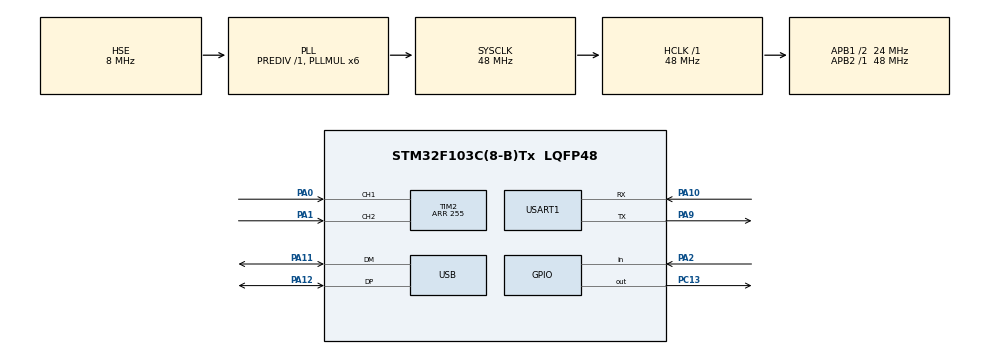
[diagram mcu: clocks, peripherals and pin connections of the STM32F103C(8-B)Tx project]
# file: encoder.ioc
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Mcu.Family=STM32F1
Mcu.Name=STM32F103C(8-B)Tx
Mcu.Package=LQFP48
NVIC.PriorityGroup=NVIC_PRIORITYGROUP_4
NVIC.USART1_IRQn=true\:0\:0\:false\:false\:true\:true\:true\:true
NVIC.USB_LP_CAN1_RX0_IRQn=true\:0\:0\:false\:false\:true\:false\:true\:true
PA0-WKUP.Signal=S_TIM2_CH1_ETR
PA1.Signal=S_TIM2_CH2
PA10.Mode=Asynchronous
PA10.Signal=USART1_RX
PA11.Mode=Device
PA11.Signal=USB_DM
PA12.Mode=Device
PA12.Signal=USB_DP
PA13.Mode=Serial_Wire
PA13.Signal=SYS_JTMS-SWDIO
PA14.Mode=Serial_Wire
PA14.Signal=SYS_JTCK-SWCLK
PA2.Signal=GPIO_Input
PA9.Mode=Asynchronous
PA9.Signal=USART1_TX
PC13-TAMPER-RTC.Signal=GPIO_Output
PD0-OSC_IN.Mode=HSE-External-Oscillator
PD0-OSC_IN.Signal=RCC_OSC_IN
PD1-OSC_OUT.Mode=HSE-External-Oscillator
PD1-OSC_OUT.Signal=RCC_OSC_OUT
ProjectManager.HeapSize=0x200
ProjectManager.StackSize=0x400
ProjectManager.TargetToolchain=STM32CubeIDE
RCC.AHBFreq_Value=48000000
RCC.APB1CLKDivider=RCC_HCLK_DIV2
RCC.APB1Freq_Value=24000000
RCC.APB1TimFreq_Value=48000000
RCC.APB2Freq_Value=48000000
RCC.APB2TimFreq_Value=48000000
RCC.HCLKFreq_Value=48000000
RCC.PLLMUL=RCC_PLL_MUL6
RCC.SYSCLKFreq_VALUE=48000000
RCC.SYSCLKSource=RCC_SYSCLKSOURCE_PLLCLK
RCC.USBFreq_Value=48000000
SH.S_TIM2_CH1_ETR.0=TIM2_CH1,Encoder_Interface
SH.S_TIM2_CH2.0=TIM2_CH2,Encoder_Interface
TIM2.EncoderMode=TIM_ENCODERMODE_TI12
TIM2.Period=255
USART1.VirtualMode=VM_ASYNC
USB_DEVICE.CLASS_NAME_FS=CDC
USB_DEVICE.VirtualMode=Cdc
USB_DEVICE.VirtualModeFS=Cdc_FS
VP_USB_DEVICE_VS_USB_DEVICE_CDC_FS.Mode=CDC_FS
board=custom

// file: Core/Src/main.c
/* USER CODE BEGIN Header */
/**
 ******************************************************************************
 * @file           : main.c
 * @brief          : Main program body
 ******************************************************************************
 * @attention
 *
 * Copyright (c) 2026 STMicroelectronics.
 * All rights reserved.
 *
 * This software is licensed under terms that can be found in the LICENSE file
 * in the root directory of this software component.
 * If no LICENSE file comes with this software, it is provided AS-IS.
 *
 ******************************************************************************
 */
/* USER CODE END Header */
#include "main.h"
#include "usb_device.h"

/* USER CODE BEGIN Includes */

#include <stdbool.h>
#include "app_uart_logic.h"

/* USER CODE END Includes */

TIM_HandleTypeDef htim2;

UART_HandleTypeDef huart1;

/* USER CODE BEGIN PV */
///ДЛЯ UART app_uart_data
uint8_t uart_rx_data;
uint8_t uart_rx_buffer[64];
uint8_t uart_rx_index = 0;
bool uart_is_collecting = false;
volatile uint8_t uart_msg_ready = 0;

volatile int16_t encoder_value = 0;
volatile int16_t last_value = -1;

/* USER CODE END PV */

void SystemClock_Config(void);
static void MX_GPIO_Init(void);
static void MX_TIM2_Init(void);
static void MX_USART1_UART_Init(void);

int main(void)
{

  /* MCU Configuration--------------------------------------------------------*/

  /* Reset of all peripherals, Initializes the Flash interface and the Systick. */
  HAL_Init();

  /* Configure the system clock */
  SystemClock_Config();

  /* Initialize all configured peripherals */
  MX_GPIO_Init();
  MX_TIM2_Init();
  MX_USART1_UART_Init();
  MX_USB_DEVICE_Init();
  /* USER CODE BEGIN 2 */

	HAL_TIM_Encoder_Start(&htim2, TIM_CHANNEL_ALL);

	HAL_UART_Receive_IT(&huart1, &uart_rx_data, 1);

  /* USER CODE END 2 */

  /* Infinite loop */
  /* USER CODE BEGIN WHILE */
	while (1) {

		Process_UART_Communication();

    /* USER CODE END WHILE */

	}
}

void SystemClock_Config(void)
{
  RCC_OscInitTypeDef RCC_OscInitStruct = {0};
  RCC_ClkInitTypeDef RCC_ClkInitStruct = {0};
  RCC_PeriphCLKInitTypeDef PeriphClkInit = {0};

  /** Initializes the RCC Oscillators according to the specified parameters
  * in the RCC_OscInitTypeDef structure.
  */
  RCC_OscInitStruct.OscillatorType = RCC_OSCILLATORTYPE_HSE;
  RCC_OscInitStruct.HSEState = RCC_HSE_ON;
  RCC_OscInitStruct.HSEPredivValue = RCC_HSE_PREDIV_DIV1;
  RCC_OscInitStruct.HSIState = RCC_HSI_ON;
  RCC_OscInitStruct.PLL.PLLState = RCC_PLL_ON;
  RCC_OscInitStruct.PLL.PLLSource = RCC_PLLSOURCE_HSE;
  RCC_OscInitStruct.PLL.PLLMUL = RCC_PLL_MUL6;
  if (HAL_RCC_OscConfig(&RCC_OscInitStruct) != HAL_OK)
  {
    Error_Handler();
  }

  /** Initializes the CPU, AHB and APB buses clocks
  */
  RCC_ClkInitStruct.ClockType = RCC_CLOCKTYPE_HCLK|RCC_CLOCKTYPE_SYSCLK
                              |RCC_CLOCKTYPE_PCLK1|RCC_CLOCKTYPE_PCLK2;
  RCC_ClkInitStruct.SYSCLKSource = RCC_SYSCLKSOURCE_PLLCLK;
  RCC_ClkInitStruct.AHBCLKDivider = RCC_SYSCLK_DIV1;
  RCC_ClkInitStruct.APB1CLKDivider = RCC_HCLK_DIV2;
  RCC_ClkInitStruct.APB2CLKDivider = RCC_HCLK_DIV1;

  if (HAL_RCC_ClockConfig(&RCC_ClkInitStruct, FLASH_LATENCY_1) != HAL_OK)
  {
    Error_Handler();
  }
  PeriphClkInit.PeriphClockSelection = RCC_PERIPHCLK_USB;
  PeriphClkInit.UsbClockSelection = RCC_USBCLKSOURCE_PLL;
  if (HAL_RCCEx_PeriphCLKConfig(&PeriphClkInit) != HAL_OK)
  {
    Error_Handler();
  }
}

static void MX_TIM2_Init(void)
{

  TIM_Encoder_InitTypeDef sConfig = {0};
  TIM_MasterConfigTypeDef sMasterConfig = {0};

  htim2.Instance = TIM2;
  htim2.Init.Prescaler = 0;
  htim2.Init.CounterMode = TIM_COUNTERMODE_UP;
  htim2.Init.Period = 255;
  htim2.Init.ClockDivision = TIM_CLOCKDIVISION_DIV1;
  htim2.Init.AutoReloadPreload = TIM_AUTORELOAD_PRELOAD_DISABLE;
  sConfig.EncoderMode = TIM_ENCODERMODE_TI12;
  sConfig.IC1Polarity = TIM_ICPOLARITY_RISING;
  sConfig.IC1Selection = TIM_ICSELECTION_DIRECTTI;
  sConfig.IC1Prescaler = TIM_ICPSC_DIV1;
  sConfig.IC1Filter = 0;
  sConfig.IC2Polarity = TIM_ICPOLARITY_RISING;
  sConfig.IC2Selection = TIM_ICSELECTION_DIRECTTI;
  sConfig.IC2Prescaler = TIM_ICPSC_DIV1;
  sConfig.IC2Filter = 0;
  if (HAL_TIM_Encoder_Init(&htim2, &sConfig) != HAL_OK)
  {
    Error_Handler();
  }
  sMasterConfig.MasterOutputTrigger = TIM_TRGO_RESET;
  sMasterConfig.MasterSlaveMode = TIM_MASTERSLAVEMODE_DISABLE;
  if (HAL_TIMEx_MasterConfigSynchronization(&htim2, &sMasterConfig) != HAL_OK)
  {
    Error_Handler();
  }

}

static void MX_USART1_UART_Init(void)
{

  huart1.Instance = USART1;
  huart1.Init.BaudRate = 115200;
  huart1.Init.WordLength = UART_WORDLENGTH_8B;
  huart1.Init.StopBits = UART_STOPBITS_1;
  huart1.Init.Parity = UART_PARITY_NONE;
  huart1.Init.Mode = UART_MODE_TX_RX;
  huart1.Init.HwFlowCtl = UART_HWCONTROL_NONE;
  huart1.Init.OverSampling = UART_OVERSAMPLING_16;
  if (HAL_UART_Init(&huart1) != HAL_OK)
  {
    Error_Handler();
  }

}

static void MX_GPIO_Init(void)
{
  GPIO_InitTypeDef GPIO_InitStruct = {0};

  /* GPIO Ports Clock Enable */
  __HAL_RCC_GPIOC_CLK_ENABLE();
  __HAL_RCC_GPIOD_CLK_ENABLE();
  __HAL_RCC_GPIOA_CLK_ENABLE();

  /*Configure GPIO pin Output Level */
  HAL_GPIO_WritePin(GPIOC, GPIO_PIN_13, GPIO_PIN_RESET);

  /*Configure GPIO pin : PC13 */
  GPIO_InitStruct.Pin = GPIO_PIN_13;
  GPIO_InitStruct.Mode = GPIO_MODE_OUTPUT_PP;
  GPIO_InitStruct.Pull = GPIO_NOPULL;
  GPIO_InitStruct.Speed = GPIO_SPEED_FREQ_LOW;
  HAL_GPIO_Init(GPIOC, &GPIO_InitStruct);

  /*Configure GPIO pin : PA2 */
  GPIO_InitStruct.Pin = GPIO_PIN_2;
  GPIO_InitStruct.Mode = GPIO_MODE_INPUT;
  GPIO_InitStruct.Pull = GPIO_NOPULL;
  HAL_GPIO_Init(GPIOA, &GPIO_InitStruct);

}

/* USER CODE BEGIN 4 */
void HAL_UART_RxCpltCallback(UART_HandleTypeDef *huart) {

	if (huart->Instance == USART1) {

	        if (uart_rx_data == '$') {           // Увидели начало пакета
	        	uart_rx_index = 0;               // Сбрасываем индекс
	        	uart_is_collecting = true;       // Начинаем копить
	        	uart_msg_ready = 0;              // Старый пакет больше не важен
	        }
	        else if (uart_is_collecting) {       // Если мы уже "в процессе"
	            if (uart_rx_data == '\n') {      // Увидели конец
	            	uart_rx_buffer[uart_rx_index] = '\0';
	                uart_is_collecting = false;
	                uart_msg_ready = 1;          // Пакет готов к обработке!
	            } else {
	            	uart_rx_buffer[uart_rx_index++] = uart_rx_data;
	                if (uart_rx_index >= 60) uart_rx_index = 0; // Защита от переполнения
	            }
	        }

	        HAL_UART_Receive_IT(&huart1, &uart_rx_data, 1); // Ждем следующий байт
	    }

	}
/* USER CODE END 4 */

void Error_Handler(void)
{
	__disable_irq();
	while (1) {
	}
}
